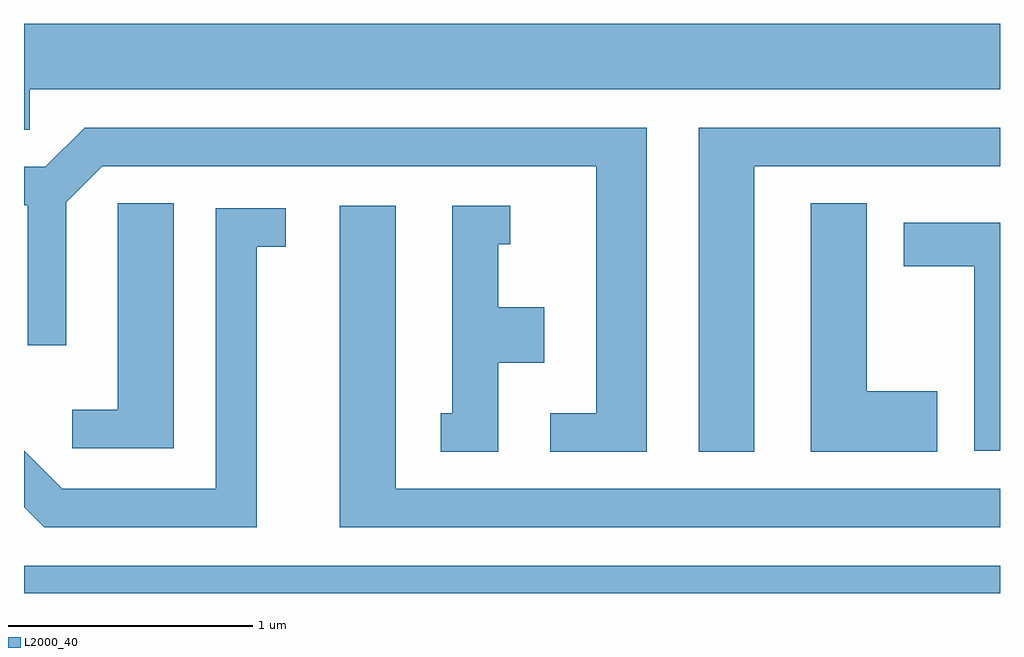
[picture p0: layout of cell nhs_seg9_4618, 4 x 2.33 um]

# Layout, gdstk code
import gdstk
lib = gdstk.Library(unit=1e-6, precision=1e-09)
def R(c, l, rs):  # rectangles x0, y0, x1, y1
    for r in rs: c.add(gdstk.rectangle(r[:2], r[2:], *l))
def P(c, l, *ps):  # polygons
    for p in ps: c.add(gdstk.Polygon(p, *l))
L2000_40 = (2000, 40)

nhs_seg9_4618 = lib.new_cell('nhs_seg9_4618')
R(nhs_seg9_4618, L2000_40, [(321.611,1976.432,325.611,1976.544)])
P(nhs_seg9_4618, L2000_40, [(321.634,1978.496),(325.611,1978.496),(325.611,1978.764),(321.611,1978.764),(321.611,1978.331),(321.634,1978.331)],
  [(324.164,1978.339),(321.859,1978.339),(321.699,1978.179),(321.611,1978.179),(321.611,1978.021),(321.626,1978.021),(321.626,1977.448),(321.784,1977.448),(321.784,1978.034),(321.932,1978.181),(323.956,1978.181),(323.956,1977.169),(323.768,1977.169),(323.768,1977.011),(324.164,1977.011)],
  [(324.604,1978.181),(325.611,1978.181),(325.611,1978.339),(324.376,1978.339),(324.376,1977.011),(324.604,1977.011)],
  [(322.224,1978.029),(321.996,1978.029),(321.996,1977.184),(321.808,1977.184),(321.808,1977.026),(322.224,1977.026)],
  [(325.354,1977.259),(325.064,1977.259),(325.064,1978.029),(324.836,1978.029),(324.836,1977.011),(325.354,1977.011)],
  [(323.554,1977.376),(323.744,1977.376),(323.744,1977.604),(323.554,1977.604),(323.554,1977.861),(323.603,1977.861),(323.603,1978.019),(323.366,1978.019),(323.366,1977.169),(323.318,1977.169),(323.318,1977.011),(323.554,1977.011)],
  [(325.611,1976.859),(323.134,1976.859),(323.134,1978.019),(322.906,1978.019),(322.906,1976.701),(325.611,1976.701)],
  [(322.564,1977.851),(322.683,1977.851),(322.683,1978.009),(322.396,1978.009),(322.396,1976.859),(321.767,1976.859),(321.611,1977.015),(321.611,1976.784),(321.694,1976.701),(322.564,1976.701)],
  [(325.611,1977.949),(325.216,1977.949),(325.216,1977.771),(325.506,1977.771),(325.506,1977.016),(325.611,1977.016)])

lib.write_gds('nhs_seg9_4618.gds')
